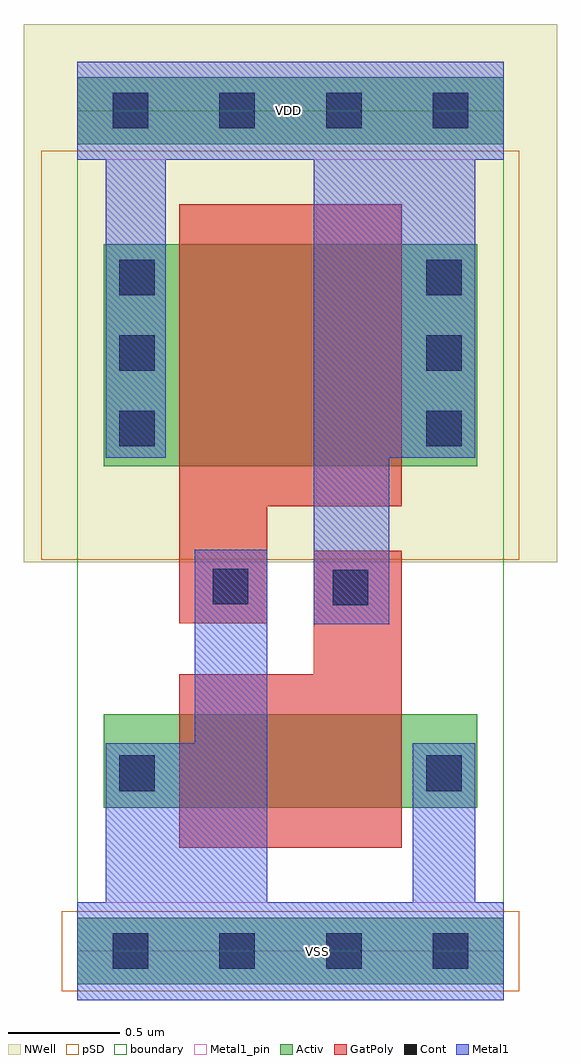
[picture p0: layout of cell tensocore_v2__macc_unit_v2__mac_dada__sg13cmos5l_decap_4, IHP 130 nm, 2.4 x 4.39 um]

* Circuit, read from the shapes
.subckt tensocore_v2__macc_unit_v2__mac_dada__sg13cmos5l_decap_4 VDD VSS
XM1 VSS VDD VSS VSS sg13_lv_nmos w=0.42u l=1u
XM2 VDD VSS VDD VDD sg13_lv_pmos w=1u l=1u
.ends

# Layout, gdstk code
import gdstk
lib = gdstk.Library(unit=1e-6, precision=1e-09)
def R(c, l, rs):  # rectangles x0, y0, x1, y1
    for r in rs: c.add(gdstk.rectangle(r[:2], r[2:], *l))
def A(c, l, x, y, w, h, nx, ny, dx, dy):  # array of equal rectangles
    R(c, l, [(x+i*dx, y+j*dy, x+i*dx+w, y+j*dy+h) for i in range(nx) for j in range(ny)])
def P(c, l, *ps):  # polygons
    for p in ps: c.add(gdstk.Polygon(p, *l))
Activ = (1, 0)
GatPoly = (5, 0)
Cont = (6, 0)
Metal1 = (8, 0)
Metal1_pin = (8, 2)
pSD = (14, 0)
NWell = (31, 0)
boundary = (189, 4)

tensocore_v2__macc_unit_ = lib.new_cell('tensocore_v2__macc_unit_v2__mac_dada__sg13cmos5l_decap_4')
R(tensocore_v2__macc_unit_, Activ, [(0,-0.15,1.92,0.15), (0.12,0.645,1.8,1.065), (0.12,2.18,1.8,3.18), (0,3.63,1.92,3.93)])
P(tensocore_v2__macc_unit_, GatPoly, [(0.46,0.465),(0.46,1.245),(1.065,1.245),(1.065,1.8),(1.46,1.8),(1.46,0.465)],
  [(0.46,1.475),(0.46,3.36),(1.46,3.36),(1.46,2),(0.855,2),(0.855,1.475)])
A(tensocore_v2__macc_unit_, Cont, 0.16, -0.08, 0.16, 0.16, 4, 2, 0.48, 3.78)
A(tensocore_v2__macc_unit_, Cont, 0.19, 2.27, 0.16, 0.16, 1, 3, 0, 0.34)
A(tensocore_v2__macc_unit_, Cont, 1.57, 2.27, 0.16, 0.16, 1, 3, 0, 0.34)
R(tensocore_v2__macc_unit_, Cont, [(0.19,0.72,0.35,0.88), (1.57,0.72,1.73,0.88), (1.15,1.555,1.31,1.715), (0.61,1.56,0.77,1.72)])
P(tensocore_v2__macc_unit_, Metal1, [(1.065,1.47),(1.065,3.56),(0.4,3.56),(0.4,2.22),(0.13,2.22),(0.13,3.56),(0,3.56),(0,4),(1.92,4),(1.92,3.56),(1.79,3.56),(1.79,2.22),(1.405,2.22),(1.405,1.47)],
  [(0,-0.22),(0,0.22),(0.13,0.22),(0.13,0.935),(0.53,0.935),(0.53,1.805),(0.855,1.805),(0.855,0.22),(1.51,0.22),(1.51,0.935),(1.79,0.935),(1.79,0.22),(1.92,0.22),(1.92,-0.22)])
R(tensocore_v2__macc_unit_, Metal1_pin, [(0,-0.22,1.92,0.22), (0,3.56,1.92,4)])
R(tensocore_v2__macc_unit_, pSD, [(-0.07,-0.18,1.99,0.18), (-0.16,1.76,1.99,3.6)])
R(tensocore_v2__macc_unit_, NWell, [(-0.24,1.75,2.16,4.17)])
R(tensocore_v2__macc_unit_, boundary, [(0,0,1.92,3.78)])
tensocore_v2__macc_unit_.add(gdstk.Label('VSS', (1.08,0), layer=8, texttype=25))
tensocore_v2__macc_unit_.add(gdstk.Label('VDD', (0.95,3.78), layer=8, texttype=25))

lib.write_gds('tensocore_v2__macc_unit_v2__mac_dada__sg13cmos5l_decap_4.gds')
